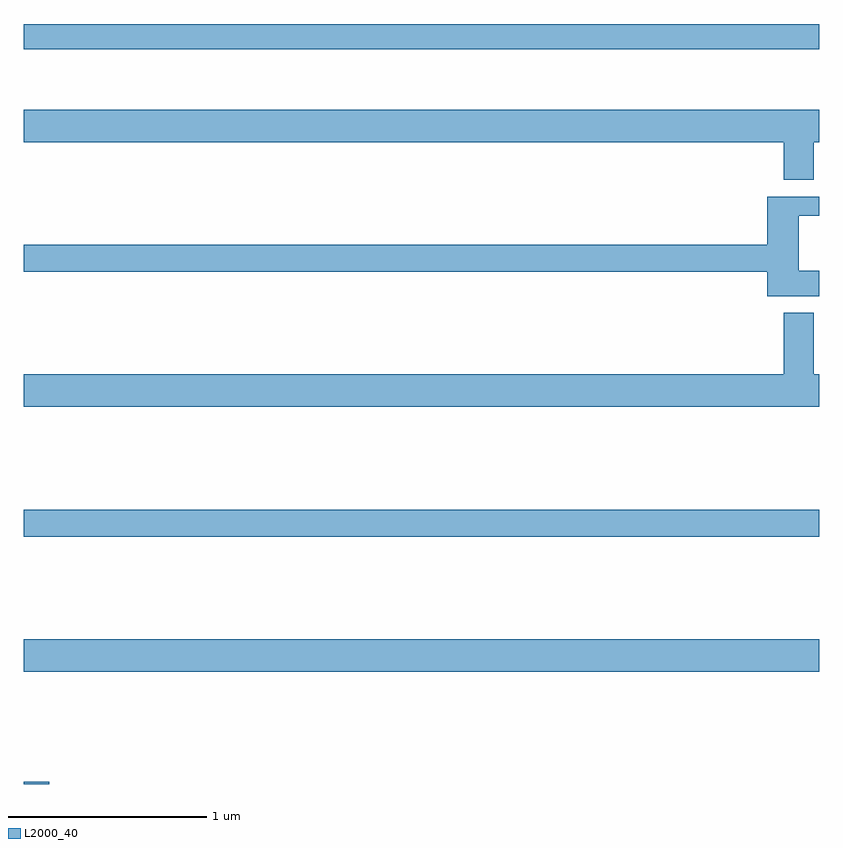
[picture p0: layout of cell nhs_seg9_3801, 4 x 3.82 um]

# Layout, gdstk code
import gdstk
lib = gdstk.Library(unit=1e-6, precision=1e-09)
def R(c, l, rs):  # rectangles x0, y0, x1, y1
    for r in rs: c.add(gdstk.rectangle(r[:2], r[2:], *l))
def P(c, l, *ps):  # polygons
    for p in ps: c.add(gdstk.Polygon(p, *l))
L2000_40 = (2000, 40)

nhs_seg9_3801 = lib.new_cell('nhs_seg9_3801')
R(nhs_seg9_3801, L2000_40, [(327,1218.5,327.127,1218.512), (327,1219.064,331,1219.228), (327,1219.744,331,1219.88), (327,1222.194,331,1222.322)])
P(nhs_seg9_3801, L2000_40, [(330.973,1221.728),(331,1221.728),(331,1221.892),(327,1221.892),(327,1221.728),(330.821,1221.728),(330.821,1221.538),(330.973,1221.538)],
  [(331,1221.082),(330.898,1221.082),(330.898,1221.357),(331,1221.357),(331,1221.453),(330.74,1221.453),(330.74,1221.212),(327,1221.212),(327,1221.076),(330.74,1221.076),(330.74,1220.954),(331,1220.954)],
  [(331,1220.56),(330.973,1220.56),(330.973,1220.869),(330.821,1220.869),(330.821,1220.56),(327,1220.56),(327,1220.396),(331,1220.396)])

lib.write_gds('nhs_seg9_3801.gds')
